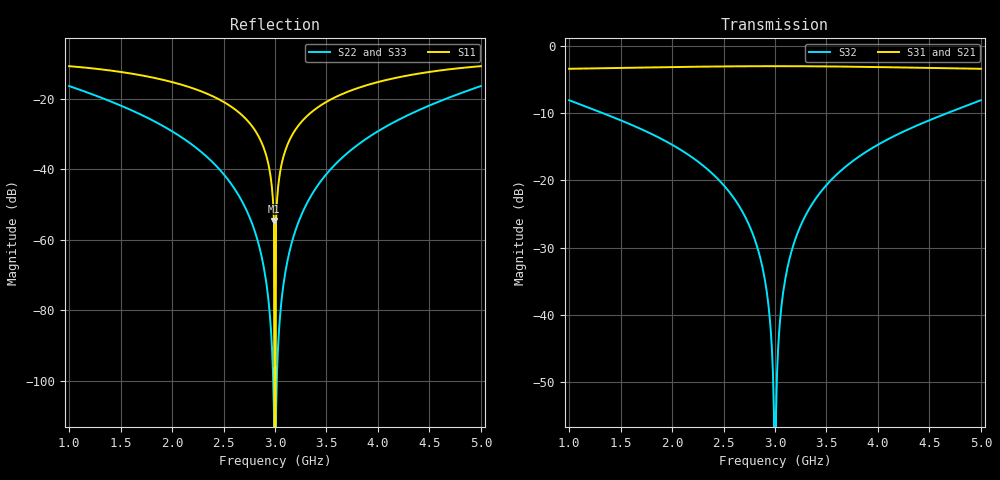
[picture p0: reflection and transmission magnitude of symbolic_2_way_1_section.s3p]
! AWR Design Environment (19377) Fri Dec 26 15:08:01 2025
! Document = 'symbolic_2_way_1_section'
! nPorts: 3, nXvals: 401
# GHz S DB R 50
!Freq DBS11 AngS11 DBS12 AngS12 DBS13 AngS13
!	DBS21 AngS21 DBS22 AngS22 DBS23 AngS23
!	DBS31 AngS31 DBS32 AngS32 DBS33 AngS33
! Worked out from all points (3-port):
!   401 points, 1 GHz to 5 GHz, reference 50 ohm
!   strongest paths, dB at 1 GHz, 2 GHz, 3 GHz, 4 GHz, 5 GHz:
!     S31: -3.4, -3.1, -3.0, -3.1, -3.4
!     S21: -3.4, -3.1, -3.0, -3.1, -3.4
!     S32: -8.1, -14.7, -, -14.7, -8.1
!   lowest |S11| = -54.7 dB at 2.99 GHz (marker M1), VSWR 1.00, Z = 50 - j0.185 ohm
!   |S11| at or under -10 dB: start of sweep to end of sweep
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1  -10.67 91.4  -3.40 -88.6  -3.40 -88.6
   -3.40 -88.6  -16.31 32.9  -8.07 -107.8
   -3.40 -88.6  -8.07 -107.8  -16.31 32.9
1.88  -14.33 12.4  -3.17 -167.6  -3.17 -167.6
      -3.17 -167.6  -27.15 -64.4  -13.70 -179.6
      -3.17 -167.6  -13.70 -179.6  -27.15 -64.4
2.63  -23.36 -56.0  -3.03 124.0  -3.03 124.0
      -3.03 124.0  -46.56 -142.1  -23.30 120.0
      -3.03 124.0  -23.30 120.0  -46.56 -142.1
2.9  -34.66 -80.8  -3.01 99.2  -3.01 99.2
     -3.01 99.2  -69.30 -169.8  -34.65 98.1
     -3.01 99.2  -34.65 98.1  -69.30 -169.8
2.99  -54.65 -89.1  -3.01 90.9  -3.01 90.9
      -3.01 90.9  -109.30 -179.0  -54.65 90.8
      -3.01 90.9  -54.65 90.8  -109.30 -179.0
3  -249.03 -90.0  -3.01 90.0  -3.01 90.0
   -3.01 90.0  -321.59 0.0  -249.03 90.0
   -3.01 90.0  -249.03 90.0  -319.09 -180.0
3.1  -34.66 80.8  -3.01 80.8  -3.01 80.8
     -3.01 80.8  -69.30 169.8  -34.65 -98.1
     -3.01 80.8  -34.65 -98.1  -69.30 169.8
3.37  -23.36 56.0  -3.03 56.0  -3.03 56.0
      -3.03 56.0  -46.56 142.1  -23.30 -120.0
      -3.03 56.0  -23.30 -120.0  -46.56 142.1
4.12  -14.33 -12.4  -3.17 -12.4  -3.17 -12.4
      -3.17 -12.4  -27.15 64.4  -13.70 179.6
      -3.17 -12.4  -13.70 179.6  -27.15 64.4
5  -10.67 -91.4  -3.40 -91.4  -3.40 -91.4
   -3.40 -91.4  -16.31 -32.9  -8.07 107.8
   -3.40 -91.4  -8.07 107.8  -16.31 -32.9
